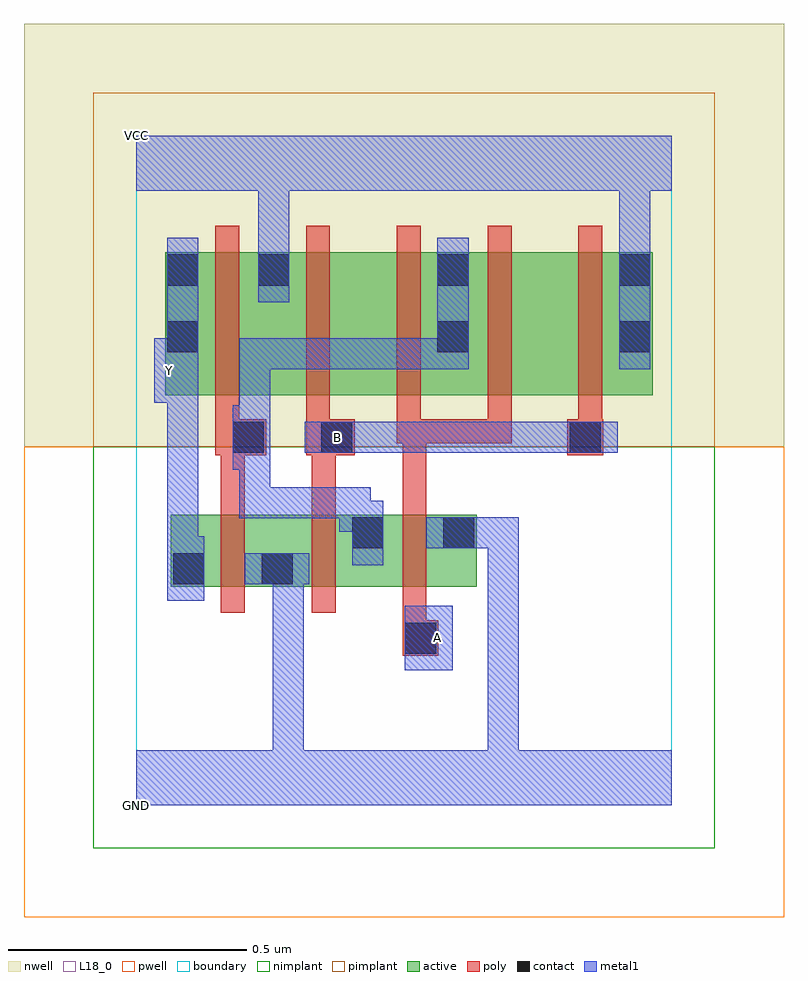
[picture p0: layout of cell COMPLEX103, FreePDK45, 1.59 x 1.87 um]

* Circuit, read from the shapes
.subckt COMPLEX103 A B GND VCC Y
M1 GND n1 Y VSUBS nfet w=0.15u l=0.05u
M2 n1 B GND VSUBS nfet w=0.15u l=0.05u
M3 GND A n1 VSUBS nfet w=0.15u l=0.05u
M4 VCC n1 Y n2 pfet w=0.3u l=0.05u
M5 n3 B VCC n2 pfet w=0.3u l=0.05u
M6 n1 A n3 n2 pfet w=0.3u l=0.05u
M7 n4 A n1 n2 pfet w=0.3u l=0.05u
M8 VCC B n4 n2 pfet w=0.3u l=0.05u
.ends

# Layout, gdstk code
import gdstk
lib = gdstk.Library(unit=1e-6, precision=1e-09)
def R(c, l, rs):  # rectangles x0, y0, x1, y1
    for r in rs: c.add(gdstk.rectangle(r[:2], r[2:], *l))
def A(c, l, x, y, w, h, nx, ny, dx, dy):  # array of equal rectangles
    R(c, l, [(x+i*dx, y+j*dy, x+i*dx+w, y+j*dy+h) for i in range(nx) for j in range(ny)])
active = (1, 0)
pwell = (2, 0)
nwell = (3, 0)
nimplant = (4, 0)
pimplant = (5, 0)
poly = (9, 0)
contact = (10, 0)
metal1 = (11, 0)
L18_0 = (18, 0)
boundary = (235, 0)

complex103 = lib.new_cell('COMPLEX103')
R(complex103, active, [(0.072,0.457,0.147,0.607), (0.072,0.457,0.332,0.607), (0.257,0.457,0.522,0.607), (0.257,0.457,0.332,0.532), (0.447,0.457,0.522,0.607), (0.447,0.457,0.712,0.607), (0.637,0.457,0.712,0.607), (0.06,0.857,0.135,1.157), (0.06,0.857,0.325,1.157), (0.25,0.857,0.475,1.157), (0.475,0.857,0.7,1.157), (0.625,0.857,0.7,1.157), (0.625,0.857,0.855,1.157), (0.855,0.857,1.08,1.157), (1.005,0.857,1.08,1.157), (0.25,1.007,0.325,1.157)])
R(complex103, pwell, [(-0.235,-0.235,1.355,0.75)])
R(complex103, nwell, [(-0.235,0.75,1.355,1.635)])
R(complex103, nimplant, [(-0.09,-0.09,1.21,0.75)])
R(complex103, pimplant, [(-0.09,0.75,1.21,1.49)])
A(complex103, poly, 0.177, 0.402, 0.05, 0.26, 3, 1, 0.19, 0)
A(complex103, poly, 0.165, 0.757, 0.05, 0.095, 5, 1, 0.19, 0)
A(complex103, poly, 0.165, 0.802, 0.05, 0.41, 5, 1, 0.19, 0)
R(complex103, poly, [(0.557,0.312,0.632,0.387), (0.557,0.337,0.607,0.452), (0.177,0.612,0.227,0.782), (0.367,0.612,0.417,0.782), (0.557,0.612,0.607,0.807), (0.165,0.732,0.272,0.807), (0.355,0.732,0.457,0.807), (0.902,0.732,0.977,0.807), (0.545,0.757,0.607,0.807), (0.557,0.757,0.785,0.807), (0.557,0.757,0.607,0.807), (0.557,0.757,0.607,0.807), (0.735,0.757,0.785,0.807)])
R(complex103, contact, [(0.562,0.317,0.627,0.382), (0.077,0.462,0.142,0.527), (0.262,0.462,0.327,0.527), (0.452,0.537,0.517,0.602), (0.642,0.537,0.707,0.602), (0.202,0.737,0.267,0.802), (0.387,0.737,0.452,0.802), (0.907,0.737,0.972,0.802), (0.065,0.947,0.13,1.012), (0.63,0.947,0.695,1.012), (1.01,0.947,1.075,1.012), (0.065,1.087,0.13,1.152), (0.255,1.087,0.32,1.152), (0.63,1.087,0.695,1.152), (1.01,1.087,1.075,1.152)])
R(complex103, metal1, [(0,0,1.12,0.115), (0.285,0.05,0.35,0.527), (0.735,0.05,0.8,0.115), (0.735,0.05,0.8,0.115), (0.735,0.05,0.8,0.115), (0.735,0.05,0.8,0.115), (0.735,0.05,0.8,0.115), (0.735,0.05,0.8,0.115), (0.735,0.05,0.8,0.602), (0.562,0.282,0.662,0.417), (0.065,0.427,0.142,0.562), (0.227,0.462,0.362,0.527), (0.285,0.462,0.35,0.527), (0.285,0.462,0.35,0.527), (0.285,0.462,0.35,0.527), (0.285,0.462,0.35,0.527), (0.285,0.462,0.35,0.527), (0.285,0.462,0.35,0.527), (0.065,0.497,0.13,0.907), (0.452,0.502,0.517,0.637), (0.607,0.537,0.8,0.602), (0.425,0.572,0.517,0.637), (0.425,0.572,0.49,0.665), (0.215,0.6,0.28,0.665), (0.215,0.6,0.49,0.665), (0.215,0.6,0.28,0.767), (0.202,0.702,0.267,0.837), (0.202,0.702,0.28,0.767), (0.215,0.702,0.28,0.767), (0.215,0.702,0.28,0.977), (0.352,0.737,0.487,0.802), (0.422,0.737,0.487,0.802), (0.422,0.737,0.487,0.802), (0.422,0.737,0.632,0.802), (0.567,0.737,0.632,0.802), (0.567,0.737,0.8,0.802), (0.735,0.737,0.8,0.802), (0.735,0.737,0.8,0.802), (0.735,0.737,0.8,0.802), (0.735,0.737,0.937,0.802), (0.872,0.737,0.937,0.802), (0.872,0.737,0.937,0.802), (0.872,0.737,1.007,0.802), (0.037,0.842,0.13,0.977), (0.065,0.912,0.13,0.977), (0.065,0.912,0.13,1.187), (0.215,0.912,0.28,0.977), (0.215,0.912,0.417,0.977), (0.352,0.912,0.417,0.977), (0.352,0.912,0.417,0.977), (0.352,0.912,0.417,0.977), (0.352,0.912,0.662,0.977), (0.597,0.912,0.662,0.977), (0.597,0.912,0.695,0.977), (0.63,0.912,0.695,1.187), (1.01,0.912,1.075,1.187), (0.255,1.052,0.32,1.187), (0.255,1.122,0.32,1.35), (0.255,1.122,0.32,1.187), (0.255,1.122,0.32,1.187), (1.01,1.122,1.075,1.35), (0,1.285,1.12,1.4), (1.01,1.285,1.075,1.35), (1.01,1.285,1.075,1.35)])
R(complex103, L18_0, [(0,0,1.12,0.115), (0.285,0.05,0.35,0.527), (0.735,0.05,0.8,0.115), (0.735,0.05,0.8,0.115), (0.735,0.05,0.8,0.115), (0.735,0.05,0.8,0.115), (0.735,0.05,0.8,0.115), (0.735,0.05,0.8,0.115), (0.735,0.05,0.8,0.602), (0.562,0.282,0.662,0.417), (0.597,0.317,0.662,0.382), (0.065,0.427,0.142,0.562), (0.227,0.462,0.362,0.527), (0.285,0.462,0.35,0.527), (0.285,0.462,0.35,0.527), (0.285,0.462,0.35,0.527), (0.285,0.462,0.35,0.527), (0.285,0.462,0.35,0.527), (0.285,0.462,0.35,0.527), (0.065,0.497,0.13,0.907), (0.607,0.537,0.8,0.602), (0.352,0.737,0.487,0.802), (0.387,0.737,0.452,0.802), (0.422,0.737,0.487,0.802), (0.422,0.737,0.487,0.802), (0.422,0.737,0.632,0.802), (0.567,0.737,0.632,0.802), (0.567,0.737,0.8,0.802), (0.735,0.737,0.8,0.802), (0.735,0.737,0.8,0.802), (0.735,0.737,0.8,0.802), (0.735,0.737,0.937,0.802), (0.872,0.737,0.937,0.802), (0.872,0.737,0.937,0.802), (0.872,0.737,1.007,0.802), (0.037,0.842,0.13,0.977), (0.037,0.877,0.102,0.942), (0.065,0.912,0.13,1.187), (0.065,0.912,0.13,0.977), (1.01,0.912,1.075,1.187), (0.255,1.052,0.32,1.187), (0.255,1.122,0.32,1.187), (0.255,1.122,0.32,1.187), (0.255,1.122,0.32,1.35), (1.01,1.122,1.075,1.35), (0,1.285,1.12,1.4), (1.01,1.285,1.075,1.35), (1.01,1.285,1.075,1.35)])
R(complex103, boundary, [(0,0,1.12,1.4)])
complex103.add(gdstk.Label('A', (0.63,0.35), layer=11, texttype=0))
complex103.add(gdstk.Label('B', (0.42,0.77), layer=11, texttype=0))
complex103.add(gdstk.Label('Y', (0.07,0.91), layer=11, texttype=0))
complex103.add(gdstk.Label('VCC', (0,1.4), layer=11, texttype=0))
complex103.add(gdstk.Label('GND', (0,0), layer=11, texttype=0))

lib.write_gds('COMPLEX103.gds')
